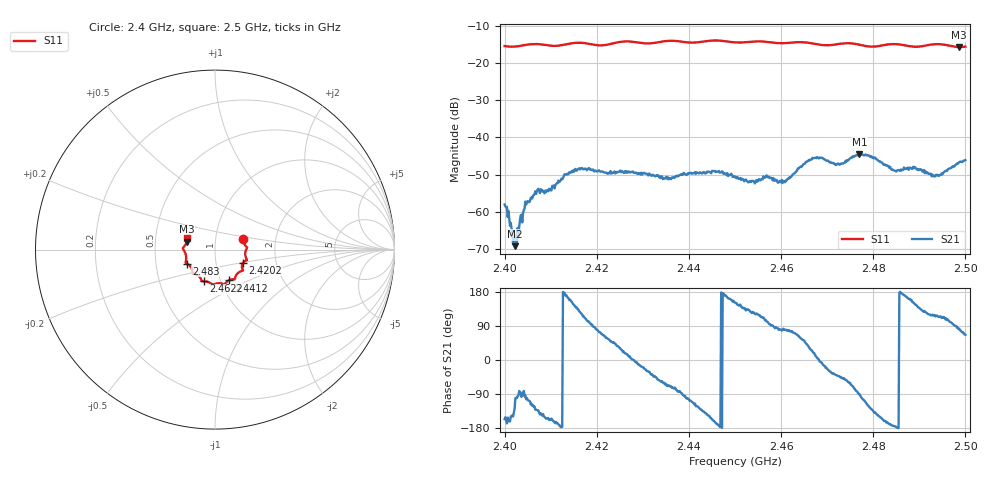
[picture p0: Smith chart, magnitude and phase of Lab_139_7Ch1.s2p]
# Hz S RI R 50
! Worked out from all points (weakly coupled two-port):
!   601 points, 2.4 GHz to 2.5 GHz, reference 50 ohm
!   highest |S21| = -44.51 dB at 2.477 GHz (marker M1); lowest = -69.2 dB at 2.4022 GHz (marker M2)
!   lowest |S11| = -15.8 dB at 2.4987 GHz (marker M3), VSWR 1.39, Z = 36.3 + j3.3 ohm
!   |S11| at or under -10 dB: start of sweep to end of sweep
!   S12 and S22 are empty: the file has one direction only
!   S11 on the Smith chart (normalised r, x): 2.4 GHz: 1.36, +0.17; 2.4202 GHz: 1.36, -0.20; 2.4412 GHz: 1.09, -0.39; 2.4622 GHz: 0.83, -0.30; 2.483 GHz: 0.72, -0.12; 2.5 GHz: 0.73, +0.09
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2.4e9  0.1573 0.0603  -0.00115 -0.000511  0 0  0 0
2.402167e9  0.1618 0.0353  -0.000218 -0.000271  0 0  0 0
2.4045e9  0.1735 0.0176  -8.67e-05 -0.00138  0 0  0 0
2.406833e9  0.1792 0.0112  -0.00115 -0.00131  0 0  0 0
2.409667e9  0.1715 -0.00475  -0.00191 -0.000748  0 0  0 0
2.4135e9  0.1727 -0.0448  -0.00312 0.000626  0 0  0 0
2.416667e9  0.1772 -0.0587  -0.00206 0.00329  0 0  0 0
2.420167e9  0.157 -0.0726  0.000667 0.00343  0 0  0 0
2.433333e9  0.1135 -0.1519  0.00192 -0.00245  0 0  0 0
2.441167e9  0.0758 -0.1719  -0.0015 -0.00298  0 0  0 0
2.45e9  0.0268 -0.1872  -0.00264 0.00142  0 0  0 0
2.459833e9  -0.0414 -0.1794  0.000432 0.00256  0 0  0 0
2.462167e9  -0.0625 -0.1766  0.000746 0.00287  0 0  0 0
2.466667e9  -0.0774 -0.1665  0.00463 0.00219  0 0  0 0
2.472333e9  -0.1163 -0.1365  0.00332 -0.00301  0 0  0 0
2.477e9  -0.1258 -0.1228  2.38e-05 -0.00595  0 0  0 0
2.483e9  -0.1585 -0.078  -0.00407 -0.00115  0 0  0 0
2.483333e9  -0.1602 -0.0773  -0.00405 -0.000848  0 0  0 0
2.489167e9  -0.1617 -0.0333  -0.0032 0.00217  0 0  0 0
2.493167e9  -0.1784 0.00366  -0.00135 0.00268  0 0  0 0
2.498667e9  -0.1569 0.0443  0.000598 0.00461  0 0  0 0
2.5e9  -0.1538 0.0622  0.00198 0.00455  0 0  0 0
